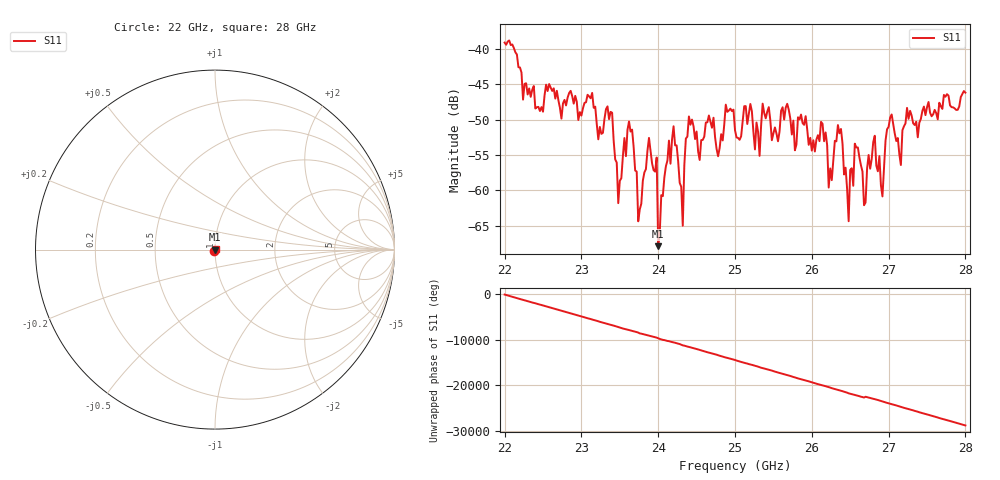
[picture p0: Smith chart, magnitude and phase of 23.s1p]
#  HZ  S  RI  R  50.00
! Rohde & Schwarz ZVA40 4Ports - Version 3.90 - 1145.1110k42 SN: 100403
! Date: 2023-10-04 10:29:22
! Measurement: S12
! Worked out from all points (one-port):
!   301 points, 22 GHz to 28 GHz, reference 50 ohm
!   lowest |S11| = -67.9 dB at 24 GHz (marker M1), VSWR 1.00, Z = 50 + j0.0175 ohm
!   |S11| at or under -10 dB: start of sweep to end of sweep
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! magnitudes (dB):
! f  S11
! 22 GHz  -39.1
! 22.76 GHz  -47.7
! 23.34 GHz  -48.1
! 23.5 GHz  -58.6
! 23.62 GHz  -50.3
! 23.74 GHz  -64.4
! 23.88 GHz  -52.6
! 23.98 GHz  -55.4
! 24 GHz  -67.9
! 24.14 GHz  -53.0
! 24.26 GHz  -55.9
! 24.32 GHz  -65.0
! 24.4 GHz  -49.6
! 25 GHz  -51.5
! 25.76 GHz  -50.2
! 26.14 GHz  -50.6
! 26.22 GHz  -59.6
! 26.38 GHz  -51.3
! 26.48 GHz  -64.3
! 26.5 GHz  -57.1
! 26.6 GHz  -53.9
! 26.68 GHz  -62.1
! 26.82 GHz  -52.3
! 26.92 GHz  -60.8
! 27.02 GHz  -49.7
! 27.16 GHz  -56.4
! 27.26 GHz  -49.9
! 28 GHz  -46.2
